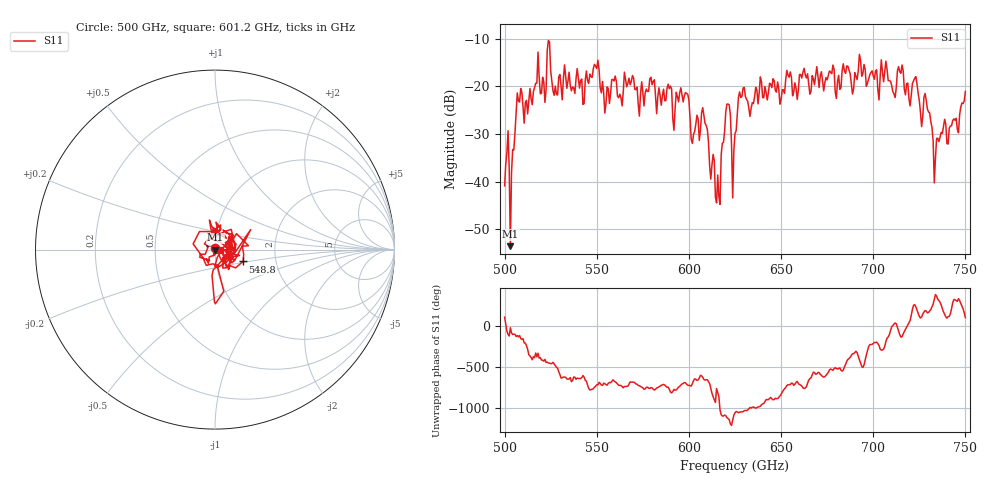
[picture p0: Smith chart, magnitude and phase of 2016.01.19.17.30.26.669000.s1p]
!Created with skrf (http://scikit-rf.org).
# GHz S RI R 50.0
!freq ReS11 ImS11
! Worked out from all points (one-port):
!   401 points, 500 GHz to 750 GHz, reference 50 ohm
!   lowest |S11| = -53.5 dB at 503.1 GHz (marker M1), VSWR 1.00, Z = 50.2 - j0.0781 ohm
!   |S11| at or under -10 dB: start of sweep to end of sweep
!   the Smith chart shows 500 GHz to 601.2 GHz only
!   S11 on the Smith chart (normalised r, x): 500 GHz: 0.99, +0.02; 548.8 GHz: 1.36, -0.18; 601.2 GHz: 1.06, -0.01
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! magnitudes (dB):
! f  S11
! 500 GHz  -40.9
! 503.1 GHz  -53.5
! 508.1 GHz  -23.3
! 521.2 GHz  -19.1
! 524.4 GHz  -10.7
! 527.5 GHz  -20.0
! 531.2 GHz  -22.8
! 541.9 GHz  -18.5
! 548.8 GHz  -15.4
! 562.5 GHz  -21.7
! 568.8 GHz  -19.0
! 593.8 GHz  -22.2
! 598.8 GHz  -21.5
! 601.2 GHz  -31.1
! 608.1 GHz  -26.2
! 615.6 GHz  -38.6
! 620.6 GHz  -23.7
! 625 GHz  -29.9
! 628.8 GHz  -22.2
! 656.2 GHz  -22.0
! 687.5 GHz  -17.4
! 705.6 GHz  -19.1
! 711.2 GHz  -21.6
! 715 GHz  -17.3
! 718.8 GHz  -19.3
! 728.8 GHz  -22.9
! 734.4 GHz  -30.9
! 750 GHz  -21.1
